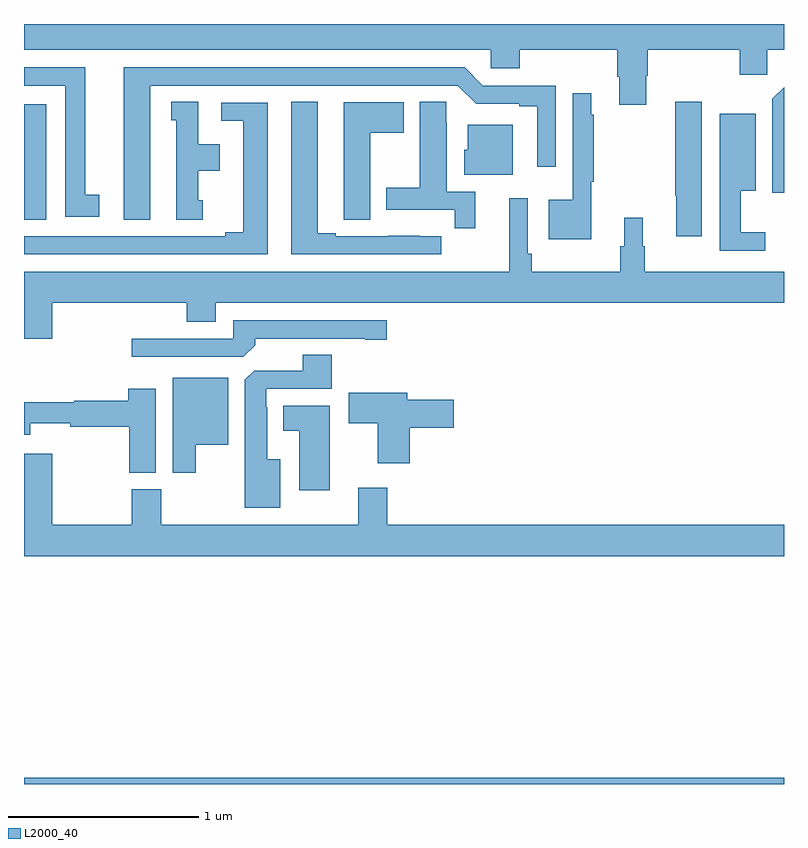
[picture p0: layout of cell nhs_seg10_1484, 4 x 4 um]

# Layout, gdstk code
import gdstk
lib = gdstk.Library(unit=1e-6, precision=1e-09)
def R(c, l, rs):  # rectangles x0, y0, x1, y1
    for r in rs: c.add(gdstk.rectangle(r[:2], r[2:], *l))
def P(c, l, *ps):  # polygons
    for p in ps: c.add(gdstk.Polygon(p, *l))
L2000_40 = (2000, 40)

nhs_seg10_1484 = lib.new_cell('nhs_seg10_1484')
R(nhs_seg10_1484, L2000_40, [(189,1248.5,193,1248.532), (189,1251.469,189.118,1252.077)])
P(nhs_seg10_1484, L2000_40, [(192.274,1252.227),(192.282,1252.227),(192.282,1252.364),(192.766,1252.364),(192.766,1252.233),(192.912,1252.233),(192.912,1252.364),(193,1252.364),(193,1252.5),(189,1252.5),(189,1252.364),(191.457,1252.364),(191.457,1252.266),(191.609,1252.266),(191.609,1252.364),(192.122,1252.364),(192.122,1252.222),(192.134,1252.222),(192.134,1252.074),(192.274,1252.074)],
  [(189.397,1251.602),(189.322,1251.602),(189.322,1252.272),(189,1252.272),(189,1252.176),(189.218,1252.176),(189.218,1251.486),(189.397,1251.486)],
  [(189.664,1252.176),(191.283,1252.176),(191.379,1252.08),(191.606,1252.08),(191.606,1252.068),(191.702,1252.068),(191.702,1251.75),(191.799,1251.75),(191.799,1252.176),(191.415,1252.176),(191.319,1252.272),(189.524,1252.272),(189.524,1251.471),(189.664,1251.471)],
  [(193,1252.168),(192.939,1252.107),(192.939,1251.612),(193,1251.612)],
  [(191.986,1251.67),(191.998,1251.67),(191.998,1252.022),(191.986,1252.022),(191.986,1252.135),(191.889,1252.135),(191.889,1251.574),(191.762,1251.574),(191.762,1251.368),(191.986,1251.368)],
  [(189.94,1251.573),(189.916,1251.573),(189.916,1251.728),(190.03,1251.728),(190.03,1251.868),(189.916,1251.868),(189.916,1252.091),(189.776,1252.091),(189.776,1251.993),(189.8,1251.993),(189.8,1251.471),(189.94,1251.471)],
  [(191.197,1251.384),(191.084,1251.384),(191.084,1251.385),(190.918,1251.385),(190.918,1251.384),(190.642,1251.384),(190.642,1251.399),(190.546,1251.399),(190.546,1252.091),(190.406,1252.091),(190.406,1251.288),(191.197,1251.288)],
  [(191.375,1251.618),(191.224,1251.618),(191.224,1251.98),(191.223,1251.98),(191.223,1252.091),(191.084,1252.091),(191.084,1251.639),(190.907,1251.639),(190.907,1251.522),(191.266,1251.522),(191.266,1251.426),(191.375,1251.426)],
  [(192.568,1252.09),(192.427,1252.09),(192.427,1251.596),(192.434,1251.596),(192.434,1251.384),(192.568,1251.384)],
  [(190.822,1251.928),(190.999,1251.928),(190.999,1252.087),(190.682,1252.087),(190.682,1251.577),(190.683,1251.577),(190.683,1251.469),(190.822,1251.469)],
  [(190.282,1252.086),(190.038,1252.086),(190.038,1251.99),(190.154,1251.99),(190.154,1251.404),(190.058,1251.404),(190.058,1251.384),(189,1251.384),(189,1251.288),(190.282,1251.288)],
  [(192.901,1251.405),(192.772,1251.405),(192.772,1251.623),(192.85,1251.623),(192.85,1252.027),(192.662,1252.027),(192.662,1251.727),(192.663,1251.727),(192.663,1251.306),(192.901,1251.306)],
  [(191.572,1251.97),(191.336,1251.97),(191.336,1251.837),(191.318,1251.837),(191.318,1251.707),(191.572,1251.707)],
  [(189.148,1251.032),(189.857,1251.032),(189.857,1250.933),(190.009,1250.933),(190.009,1251.032),(193,1251.032),(193,1251.196),(192.268,1251.196),(192.268,1251.33),(192.256,1251.33),(192.256,1251.481),(192.158,1251.481),(192.158,1251.33),(192.139,1251.33),(192.139,1251.196),(191.672,1251.196),(191.672,1251.292),(191.652,1251.292),(191.652,1251.583),(191.555,1251.583),(191.555,1251.196),(189,1251.196),(189,1250.844),(189.148,1250.844)],
  [(190.217,1250.81),(190.217,1250.844),(190.796,1250.844),(190.796,1250.839),(190.909,1250.839),(190.909,1250.94),(190.101,1250.94),(190.101,1250.844),(189.567,1250.844),(189.567,1250.748),(190.155,1250.748)],
  [(190.348,1250.209),(190.279,1250.209),(190.279,1250.483),(190.275,1250.483),(190.275,1250.58),(190.619,1250.58),(190.619,1250.759),(190.466,1250.759),(190.466,1250.676),(190.212,1250.676),(190.163,1250.627),(190.163,1249.955),(190.348,1249.955)],
  [(189.904,1250.285),(190.075,1250.285),(190.075,1250.638),(189.782,1250.638),(189.782,1250.139),(189.904,1250.139)],
  [(189.694,1250.581),(189.548,1250.581),(189.548,1250.516),(189.264,1250.516),(189.264,1250.509),(189,1250.509),(189,1250.338),(189.034,1250.338),(189.034,1250.399),(189.244,1250.399),(189.244,1250.38),(189.553,1250.38),(189.553,1250.137),(189.694,1250.137)],
  [(191.03,1250.375),(191.263,1250.375),(191.263,1250.522),(191.017,1250.522),(191.017,1250.56),(190.71,1250.56),(190.71,1250.398),(190.862,1250.398),(190.862,1250.187),(191.03,1250.187)],
  [(190.609,1250.491),(190.364,1250.491),(190.364,1250.36),(190.448,1250.36),(190.448,1250.046),(190.609,1250.046)],
  [(193,1249.864),(190.913,1249.864),(190.913,1250.059),(190.76,1250.059),(190.76,1249.864),(189.723,1249.864),(189.723,1250.052),(189.568,1250.052),(189.568,1249.864),(189.148,1249.864),(189.148,1250.239),(189,1250.239),(189,1249.7),(193,1249.7)])

lib.write_gds('nhs_seg10_1484.gds')
